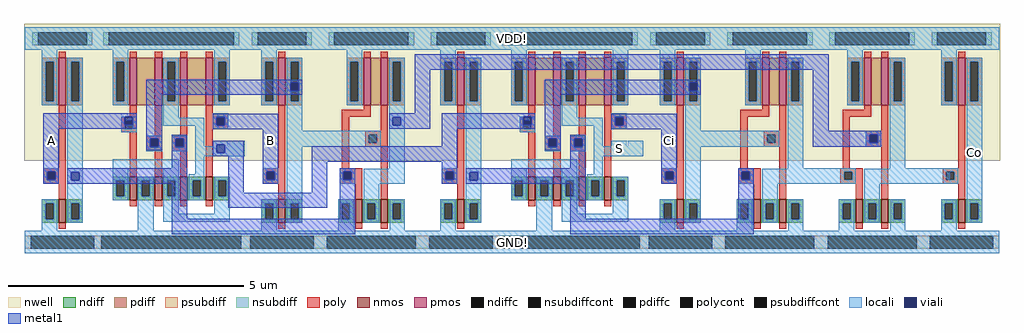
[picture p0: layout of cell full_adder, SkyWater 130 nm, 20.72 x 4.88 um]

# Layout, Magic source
magic
tech sky130A
magscale 1 2
<< nwell >>
rect 4 864 4140 960
<< psubdiff >>
rect 4 20 4140 76
<< locali >>
rect 4 864 4140 960
rect 802 462 868 478
rect 802 428 818 462
rect 852 428 868 462
rect 802 412 868 428
rect 2494 412 2560 478
rect 3242 296 3474 362
rect 3724 296 3930 362
rect 4002 230 4068 630
rect 4 0 4140 96
<< viali >>
rect 1566 544 1600 578
rect 818 428 852 462
rect 3590 470 3624 504
<< metal1 >>
rect 1659 844 3415 845
rect 1659 779 3416 844
rect 1659 596 1725 779
rect 82 362 148 596
rect 802 462 934 478
rect 802 428 818 462
rect 852 428 934 462
rect 802 412 934 428
rect 868 258 934 412
rect 1014 362 1080 594
rect 1550 578 1725 596
rect 1550 544 1566 578
rect 1600 544 1725 578
rect 1550 530 1725 544
rect 1222 390 1792 456
rect 1222 258 1288 390
rect 2706 362 2772 594
rect 3348 520 3416 779
rect 3348 504 3640 520
rect 3348 470 3590 504
rect 3624 470 3640 504
rect 3348 456 3640 470
rect 3348 454 3639 456
rect 868 194 1288 258
use half_adder  half_adder_0
transform 1 0 326 0 1 0
box -326 0 1366 976
use half_adder  half_adder_1
transform 1 0 2018 0 1 0
box -326 0 1366 976
use inv  inv_0 ~/magic/library/mag
transform 1 0 3822 0 1 0
box -4 0 322 976
use nor  nor_0 ~/magic/library/mag
transform 1 0 3388 0 1 0
box -4 0 430 976
<< labels >>
flabel metal1 82 362 148 596 0 FreeSerif 160 0 0 0 A
port 2 nsew
flabel metal1 1014 362 1080 594 0 FreeSerif 160 0 0 0 B
port 3 nsew
flabel locali 4 864 4140 960 0 FreeSerif 160 0 0 0 VDD!
flabel locali 4 0 4140 96 0 FreeSerif 160 0 0 0 GND!
flabel metal1 2706 362 2772 594 0 FreeSerif 160 0 0 0 Ci
port 4 nsew
flabel locali 2494 412 2560 478 0 FreeSerif 160 0 0 0 S
port 5 nsew
flabel locali 4002 230 4068 630 5 FreeSerif 160 0 0 0 Co
port 6 s
<< end >>

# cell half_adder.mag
magic
tech sky130A
<< nwell >>
rect -161 432 681 480
rect 238 206 271 239
<< psubdiff >>
rect -161 10 681 38
<< locali >>
rect -161 432 681 480
rect 238 206 271 239
rect 395 227 594 260
rect 612 148 645 315
rect -161 0 681 48
<< viali >>
rect 403 345 420 362
rect 51 273 68 290
rect 246 272 263 289
rect 105 227 122 244
rect 159 227 176 244
rect -114 156 -97 173
rect -63 155 -46 172
rect 352 156 369 173
rect 515 156 532 173
<< metal1 >>
rect 97 362 428 369
rect 97 345 403 362
rect 420 345 428 362
rect 97 337 428 345
rect -122 290 76 298
rect -122 273 51 290
rect 68 273 76 290
rect -122 265 76 273
rect -122 173 -89 265
rect 97 244 130 337
rect 238 289 377 297
rect 238 272 246 289
rect 263 272 377 289
rect 238 264 377 272
rect 97 227 105 244
rect 122 227 130 244
rect 97 219 130 227
rect 151 244 183 252
rect 151 227 159 244
rect 176 227 183 244
rect 151 181 183 227
rect -122 156 -114 173
rect -97 156 -89 173
rect -122 148 -89 156
rect -71 172 184 181
rect -71 155 -63 172
rect -46 155 184 172
rect -71 148 184 155
rect 344 173 377 264
rect 344 156 352 173
rect 369 156 377 173
rect 344 148 377 156
rect 507 173 540 181
rect 507 156 515 173
rect 532 156 540 173
rect 151 74 184 148
rect 507 74 540 156
rect 151 41 540 74
use inv  inv_0 ~/magic/library/mag
transform 1 0 305 0 1 0
box -2 0 161 488
use inv  inv_1
transform 1 0 -161 0 1 0
box -2 0 161 488
use nor  nor_0 ~/magic/library/mag
transform 1 0 468 0 1 0
box -2 0 215 488
use xor  xor_0 ~/magic/library/mag
transform 1 0 -11 0 1 0
box 11 0 314 488
<< labels >>
flabel metal1 -122 148 -89 298 0 FreeSerif 80 0 0 0 A
port 0 nsew
flabel metal1 344 181 377 297 0 FreeSerif 80 0 0 0 B
port 1 nsew
flabel locali 238 206 271 239 0 FreeSerif 80 0 0 0 S
port 2 nsew
flabel locali 612 148 645 315 0 FreeSerif 80 0 0 0 C
port 3 nsew
flabel locali -161 432 681 480 0 FreeSerif 80 0 0 0 VDD!
flabel locali -161 0 681 48 0 FreeSerif 80 0 0 0 GND!
<< end >>

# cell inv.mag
magic
tech sky130A
<< nwell >>
rect -2 197 161 488
<< nmos >>
rect 72 65 87 115
<< pmos >>
rect 72 315 87 415
<< ndiff >>
rect 36 107 72 115
rect 36 73 44 107
rect 61 73 72 107
rect 36 65 72 73
rect 87 107 123 115
rect 87 73 98 107
rect 115 73 123 107
rect 87 65 123 73
<< pdiff >>
rect 36 407 72 415
rect 36 323 44 407
rect 61 323 72 407
rect 36 315 72 323
rect 87 407 123 415
rect 87 323 98 407
rect 115 323 123 407
rect 87 315 123 323
<< ndiffc >>
rect 44 73 61 107
rect 98 73 115 107
<< pdiffc >>
rect 44 323 61 407
rect 98 323 115 407
<< psubdiff >>
rect 0 10 12 38
rect 147 10 159 38
<< nsubdiff >>
rect 16 442 28 470
rect 131 442 143 470
<< psubdiffcont >>
rect 12 10 147 38
<< nsubdiffcont >>
rect 28 442 131 470
<< poly >>
rect 72 415 87 428
rect 72 181 87 315
rect 39 173 87 181
rect 39 156 47 173
rect 64 156 87 173
rect 39 148 87 156
rect 72 115 87 148
rect 72 52 87 65
<< polycont >>
rect 47 156 64 173
<< locali >>
rect 0 470 159 480
rect 0 442 28 470
rect 131 442 159 470
rect 0 432 159 442
rect 36 407 69 432
rect 36 323 44 407
rect 61 323 69 407
rect 36 315 69 323
rect 90 407 123 415
rect 90 323 98 407
rect 115 323 123 407
rect 39 173 72 181
rect 39 156 47 173
rect 64 156 72 173
rect 39 148 72 156
rect 36 107 69 115
rect 36 73 44 107
rect 61 73 69 107
rect 36 48 69 73
rect 90 107 123 323
rect 90 73 98 107
rect 115 73 123 107
rect 90 65 123 73
rect 0 38 159 48
rect 0 10 12 38
rect 147 10 159 38
rect 0 0 159 10
<< labels >>
flabel locali 0 432 159 480 0 FreeSerif 80 0 0 0 VDD!
port 2 nsew
flabel locali 0 0 159 48 0 FreeSerif 80 0 0 0 GND!
port 3 nsew
flabel locali 39 148 72 181 0 FreeSerif 80 0 0 0 A
port 4 nsew
flabel locali 90 65 123 415 0 FreeSerif 80 0 0 0 Y
port 5 nsew
flabel ndiff 72 90 72 90 1 FreeSerif 8 0 0 0 S$
flabel pdiff 72 365 72 365 1 FreeSerif 8 0 0 0 S$
<< end >>

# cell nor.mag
magic
tech sky130A
<< nwell >>
rect -2 197 215 488
<< nmos >>
rect 72 65 87 115
rect 126 65 141 115
<< pmos >>
rect 90 315 105 415
rect 126 315 141 415
<< ndiff >>
rect 36 107 72 115
rect 36 73 44 107
rect 61 73 72 107
rect 36 65 72 73
rect 87 107 126 115
rect 87 73 98 107
rect 115 73 126 107
rect 87 65 126 73
rect 141 107 177 115
rect 141 73 152 107
rect 169 73 177 107
rect 141 65 177 73
<< pdiff >>
rect 54 407 90 415
rect 54 323 62 407
rect 79 323 90 407
rect 54 315 90 323
rect 105 315 126 415
rect 141 407 177 415
rect 141 323 152 407
rect 169 323 177 407
rect 141 315 177 323
<< ndiffc >>
rect 44 73 61 107
rect 98 73 115 107
rect 152 73 169 107
<< pdiffc >>
rect 62 323 79 407
rect 152 323 169 407
<< psubdiff >>
rect 0 10 12 38
rect 201 10 213 38
<< nsubdiff >>
rect 16 442 28 470
rect 185 442 197 470
<< psubdiffcont >>
rect 12 10 201 38
<< nsubdiffcont >>
rect 28 442 185 470
<< poly >>
rect 90 415 105 428
rect 126 415 141 428
rect 90 305 105 315
rect 44 290 105 305
rect 44 181 59 290
rect 126 260 141 315
rect 93 252 141 260
rect 93 235 101 252
rect 118 235 141 252
rect 93 227 141 235
rect 39 173 87 181
rect 39 156 47 173
rect 64 156 87 173
rect 39 148 87 156
rect 72 115 87 148
rect 126 115 141 227
rect 72 52 87 65
rect 126 52 141 65
<< polycont >>
rect 101 235 118 252
rect 47 156 64 173
<< locali >>
rect 0 470 213 480
rect 0 442 28 470
rect 185 442 213 470
rect 0 432 213 442
rect 54 407 87 432
rect 54 323 62 407
rect 79 323 87 407
rect 54 315 87 323
rect 144 407 177 415
rect 144 323 152 407
rect 169 323 177 407
rect 93 252 126 260
rect 93 235 101 252
rect 118 235 126 252
rect 93 227 126 235
rect 39 173 72 181
rect 144 180 177 323
rect 39 156 47 173
rect 64 156 72 173
rect 39 148 72 156
rect 90 148 177 180
rect 36 107 69 115
rect 36 73 44 107
rect 61 73 69 107
rect 36 48 69 73
rect 90 107 123 148
rect 90 73 98 107
rect 115 73 123 107
rect 90 65 123 73
rect 145 107 177 115
rect 145 73 152 107
rect 169 73 177 107
rect 145 48 177 73
rect 0 38 213 48
rect 0 10 12 38
rect 201 10 213 38
rect 0 0 213 10
<< labels >>
flabel ndiff 72 90 72 90 1 FreeSerif 8 0 0 0 S$
flabel locali 39 148 72 181 0 FreeSerif 80 0 0 0 B
port 8 nsew
flabel locali 144 148 177 315 0 FreeSerif 80 0 0 0 Y
port 5 nsew
flabel locali 0 432 213 480 0 FreeSerif 80 0 0 0 VDD!
port 2 nsew
flabel locali 0 0 213 48 0 FreeSerif 80 0 0 0 GND!
port 3 nsew
flabel ndiff 141 90 141 90 1 FreeSerif 8 0 0 0 S$
flabel pdiff 126 365 126 365 1 FreeSerif 8 0 0 0 S$
flabel locali 93 227 126 260 0 FreeSerif 80 0 0 0 A
port 4 nsew
flabel pdiff 90 365 90 365 1 FreeSerif 8 0 0 0 S$
<< end >>

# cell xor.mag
magic
tech sky130A
<< nwell >>
rect -2 197 323 488
<< nmos >>
rect 72 113 87 163
rect 126 113 141 163
rect 180 113 195 163
rect 234 113 249 163
<< pmos >>
rect 72 315 87 415
rect 126 315 141 415
rect 180 315 195 415
rect 234 315 249 415
<< ndiff >>
rect 36 155 72 163
rect 36 121 44 155
rect 61 121 72 155
rect 36 113 72 121
rect 87 155 126 163
rect 87 121 98 155
rect 115 121 126 155
rect 87 113 126 121
rect 141 155 180 163
rect 141 121 152 155
rect 169 121 180 155
rect 141 113 180 121
rect 195 155 234 163
rect 195 121 206 155
rect 223 121 234 155
rect 195 113 234 121
rect 249 155 285 163
rect 249 121 260 155
rect 277 121 285 155
rect 249 113 285 121
<< pdiff >>
rect 36 407 72 415
rect 36 323 44 407
rect 61 323 72 407
rect 36 315 72 323
rect 87 315 126 415
rect 141 407 180 415
rect 141 323 152 407
rect 169 323 180 407
rect 141 315 180 323
rect 195 315 234 415
rect 249 407 285 415
rect 249 323 260 407
rect 277 323 285 407
rect 249 315 285 323
<< ndiffc >>
rect 44 121 61 155
rect 98 121 115 155
rect 152 121 169 155
rect 206 121 223 155
rect 260 121 277 155
<< pdiffc >>
rect 44 323 61 407
rect 152 323 169 407
rect 260 323 277 407
<< psubdiff >>
rect 0 10 12 38
rect 309 10 321 38
<< nsubdiff >>
rect 16 442 28 470
rect 293 442 305 470
<< psubdiffcont >>
rect 12 10 309 38
<< nsubdiffcont >>
rect 28 442 293 470
<< poly >>
rect 72 415 87 428
rect 126 415 141 428
rect 180 415 195 428
rect 234 415 249 428
rect 72 290 87 315
rect 54 282 87 290
rect 54 265 62 282
rect 79 265 87 282
rect 54 257 87 265
rect 72 163 87 257
rect 126 250 141 315
rect 180 250 195 315
rect 108 242 141 250
rect 108 225 116 242
rect 133 225 141 242
rect 108 217 141 225
rect 162 242 195 250
rect 162 225 170 242
rect 187 225 195 242
rect 162 217 195 225
rect 126 163 141 217
rect 180 163 195 217
rect 234 298 249 315
rect 234 290 282 298
rect 234 273 257 290
rect 274 273 282 290
rect 234 265 282 273
rect 234 163 249 265
rect 72 100 87 113
rect 126 100 141 113
rect 180 100 195 113
rect 234 100 249 113
<< polycont >>
rect 62 265 79 282
rect 116 225 133 242
rect 170 225 187 242
rect 257 273 274 290
<< locali >>
rect 0 470 321 480
rect 0 442 28 470
rect 293 442 321 470
rect 0 432 321 442
rect 36 407 69 432
rect 36 323 44 407
rect 61 323 69 407
rect 36 315 69 323
rect 144 407 177 415
rect 144 323 152 407
rect 169 323 177 407
rect 54 282 87 290
rect 54 265 62 282
rect 79 265 87 282
rect 144 288 177 323
rect 252 407 285 432
rect 252 323 260 407
rect 277 323 285 407
rect 252 315 285 323
rect 249 290 282 298
rect 144 271 231 288
rect 54 257 87 265
rect 108 242 141 250
rect 108 225 116 242
rect 133 225 141 242
rect 108 217 141 225
rect 162 242 195 250
rect 162 225 170 242
rect 187 225 195 242
rect 162 217 195 225
rect 212 228 231 271
rect 249 273 257 290
rect 274 273 282 290
rect 249 265 282 273
rect 284 228 317 239
rect 212 206 317 228
rect 36 180 177 200
rect 36 155 69 180
rect 36 121 44 155
rect 61 121 69 155
rect 36 113 69 121
rect 90 155 123 163
rect 90 121 98 155
rect 115 121 123 155
rect 90 48 123 121
rect 144 155 177 180
rect 212 168 231 206
rect 144 121 152 155
rect 169 121 177 155
rect 144 84 177 121
rect 198 155 231 168
rect 198 121 206 155
rect 223 121 231 155
rect 198 113 231 121
rect 252 155 285 163
rect 252 121 260 155
rect 277 121 285 155
rect 252 84 285 121
rect 144 67 285 84
rect 0 38 321 48
rect 0 10 12 38
rect 309 10 321 38
rect 0 0 321 10
<< labels >>
flabel pdiff 72 365 72 365 1 FreeSerif 8 0 0 0 S$
flabel pdiff 195 365 195 365 1 FreeSerif 8 0 0 0 S$
flabel pdiff 249 365 249 365 1 FreeSerif 8 0 0 0 S$
flabel pdiff 126 363 126 363 1 FreeSerif 8 0 0 0 S$
flabel locali 54 257 87 290 0 FreeSerif 80 0 0 0 A
port 11 nsew
flabel locali 108 217 141 250 0 FreeSerif 80 0 0 0 ~B
port 12 nsew
flabel locali 162 217 195 250 0 FreeSerif 80 0 0 0 ~A
port 13 nsew
flabel locali 249 265 282 298 0 FreeSerif 80 0 0 0 B
port 14 nsew
flabel locali 284 206 317 239 0 FreeSerif 80 0 0 0 Y
port 4 nsew
flabel locali 0 0 321 48 0 FreeSerif 80 0 0 0 GND!
port 3 nsew
flabel locali 0 432 321 480 0 FreeSerif 80 0 0 0 VDD!
port 2 nsew
flabel ndiff 87 135 87 135 1 FreeSerif 8 0 0 0 S$
flabel ndiff 126 137 126 137 1 FreeSerif 8 0 0 0 S$
flabel ndiff 180 137 180 137 1 FreeSerif 8 0 0 0 S$
flabel ndiff 249 138 249 138 1 FreeSerif 8 0 0 0 S$
<< end >>
